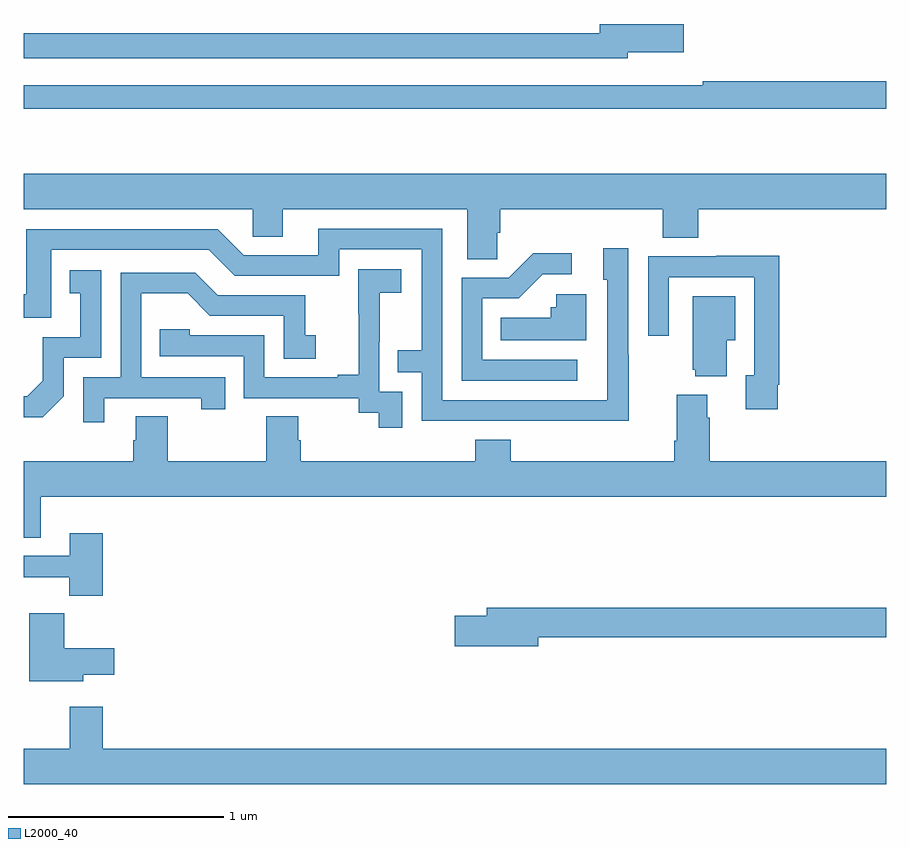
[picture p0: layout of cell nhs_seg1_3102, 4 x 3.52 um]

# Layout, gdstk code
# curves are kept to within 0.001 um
import gdstk
lib = gdstk.Library(unit=1e-6, precision=1e-09)
def P(c, l, *ps):  # polygons
    for p in ps: c.add(gdstk.Polygon(p, *l))
L2000_40 = (2000, 40)

nhs_seg1_3102 = lib.new_cell('nhs_seg1_3102')
P(nhs_seg1_3102, L2000_40, [(281.8,545.801),(282.061,545.801),(282.061,545.931),(281.672,545.931),(281.672,545.888),(279,545.888),(279,545.772),(281.8,545.772)],
  [(283,545.666),(282.148,545.666),(282.148,545.647),(281.896,545.647),(281.896,545.646),(279,545.646),(279,545.538),(283,545.538)],
  [(281.196,544.963),(281.21,544.963),(281.21,545.072),(281.963,545.072),(281.963,544.939),(282.128,544.939),(282.128,545.072),(283,545.072),(283,545.236),(279,545.236),(279,545.072),(280.062,545.072),(280.062,544.945),(280.201,544.945),(280.201,545.072),(281.057,545.072),(281.057,544.84),(281.196,544.84)],
  [(281.805,544.397),(281.802,544.397),(281.802,544.891),(281.687,544.891),(281.687,544.746),(281.706,544.746),(281.705,544.188),(280.941,544.188),(280.941,544.983),(280.367,544.983),(280.367,544.86),(280.02,544.86),(279.9,544.98),(279.013,544.98),(279.013,544.678),(279,544.678),(279,544.569),(279.129,544.569),(279.129,544.884),(279.858,544.884),(279.978,544.764),(280.464,544.764),(280.464,544.887),(280.845,544.887),(280.845,544.418),(280.735,544.418),(280.735,544.317),(280.845,544.317),(280.845,544.092),(281.805,544.091)],
  [(281.566,544.374),(281.127,544.374),(281.127,544.659),(281.296,544.659),(281.407,544.77),(281.542,544.77),(281.542,544.868),(281.363,544.868),(281.25,544.755),(281.031,544.755),(281.031,544.278),(281.566,544.278)],
  [(282.496,544.258),(282.503,544.258),(282.503,544.856),(282.211,544.856),(282.211,544.854),(281.895,544.854),(281.895,544.485),(281.991,544.485),(281.991,544.758),(282.387,544.758),(282.387,544.302),(282.347,544.302),(282.347,544.146),(282.496,544.146)],
  [(280.755,544.227),(280.65,544.227),(280.65,544.457),(280.652,544.457),(280.652,544.685),(280.75,544.685),(280.75,544.795),(280.552,544.795),(280.552,544.589),(280.553,544.589),(280.553,544.306),(280.457,544.306),(280.457,544.293),(280.116,544.293),(280.116,544.488),(279.771,544.488),(279.771,544.515),(279.631,544.515),(279.631,544.392),(280.02,544.392),(280.02,544.197),(280.554,544.197),(280.554,544.129),(280.647,544.129),(280.647,544.059),(280.755,544.059)],
  [(279.186,544.206),(279.186,544.383),(279.36,544.383),(279.36,544.789),(279.214,544.789),(279.214,544.683),(279.263,544.683),(279.263,544.479),(279.09,544.479),(279.09,544.278),(279.018,544.206),(279,544.206),(279,544.109),(279.088,544.109)],
  [(279.373,544.197),(279.824,544.197),(279.824,544.146),(279.935,544.146),(279.935,544.293),(279.546,544.293),(279.546,544.682),(279.76,544.682),(279.864,544.578),(280.206,544.578),(280.206,544.38),(280.354,544.38),(280.354,544.489),(280.305,544.489),(280.305,544.674),(279.901,544.674),(279.796,544.779),(279.45,544.779),(279.45,544.293),(279.276,544.293),(279.276,544.086),(279.373,544.086)],
  [(281.608,544.678),(281.469,544.678),(281.469,544.617),(281.443,544.617),(281.443,544.57),(281.212,544.57),(281.212,544.466),(281.608,544.466)],
  [(282.259,544.466),(282.298,544.466),(282.298,544.669),(282.101,544.669),(282.101,544.329),(282.113,544.329),(282.113,544.298),(282.259,544.298)],
  [(283,543.904),(282.182,543.904),(282.182,544.106),(282.169,544.106),(282.169,544.213),(282.029,544.213),(282.029,544),(282.017,544),(282.017,543.904),(281.258,543.904),(281.258,544.003),(281.093,544.003),(281.093,543.904),(280.286,543.904),(280.286,544.002),(280.273,544.002),(280.273,544.112),(280.126,544.112),(280.126,543.904),(279.669,543.904),(279.669,544.112),(279.521,544.112),(279.521,544.002),(279.509,544.002),(279.509,543.904),(279,543.904),(279,543.55),(279.079,543.55),(279.079,543.74),(283,543.74)],
  [(279.368,543.571),(279.215,543.571),(279.215,543.465),(279,543.465),(279,543.366),(279.213,543.366),(279.213,543.281),(279.368,543.281)],
  [(281.386,543.088),(283,543.088),(283,543.224),(281.147,543.224),(281.147,543.188),(280.998,543.188),(280.998,543.046),(281.386,543.046)],
  [(279.277,542.915),(279.421,542.915),(279.421,543.037),(279.188,543.037),(279.188,543.199),(279.026,543.199),(279.026,542.885),(279.277,542.885)],
  [(283,542.572),(279.368,542.572),(279.368,542.767),(279.215,542.767),(279.215,542.572),(279,542.572),(279,542.408),(283,542.408)])

lib.write_gds('nhs_seg1_3102.gds')
